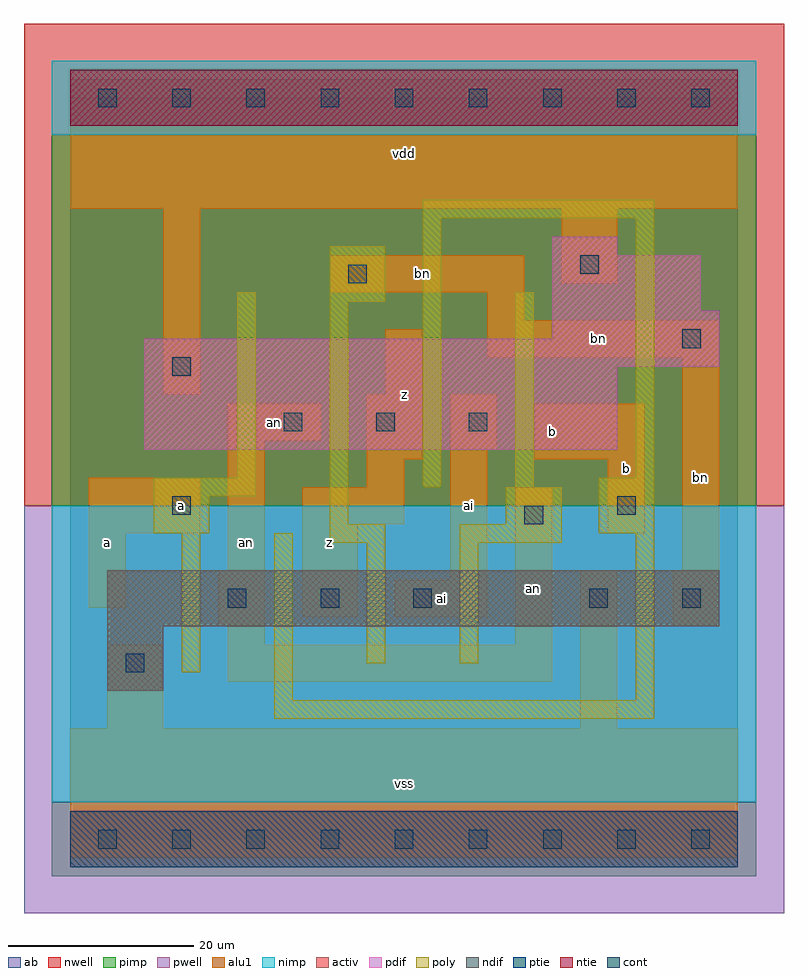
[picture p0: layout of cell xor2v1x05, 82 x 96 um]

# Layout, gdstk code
import gdstk
lib = gdstk.Library(unit=1e-6, precision=1e-09)
def R(c, l, rs):  # rectangles x0, y0, x1, y1
    for r in rs: c.add(gdstk.rectangle(r[:2], r[2:], *l))
def A(c, l, x, y, w, h, nx, ny, dx, dy):  # array of equal rectangles
    R(c, l, [(x+i*dx, y+j*dy, x+i*dx+w, y+j*dy+h) for i in range(nx) for j in range(ny)])
ndif = (3, 0)
pdif = (4, 0)
ntie = (5, 0)
ptie = (6, 0)
cont = (25, 0)
pwell = (41, 0)
nwell = (42, 0)
activ = (43, 0)
pimp = (44, 0)
nimp = (45, 0)
poly = (46, 0)
alu1 = (49, 0)
ab = (63, 0)

xor2v1x05 = lib.new_cell('xor2v1x05')
R(xor2v1x05, ndif, [(4,16,10,23), (4,23,70,29)])
R(xor2v1x05, pdif, [(8,42,59,51), (8,51,70,54), (52,54,70,57), (52,57,68,63), (52,63,59,65)])
R(xor2v1x05, ntie, [(0,77,72,83)])
R(xor2v1x05, ptie, [(0,-3,72,3)])
A(xor2v1x05, cont, 3, -1, 2, 2, 9, 2, 8, 80)
A(xor2v1x05, cont, 17, 25, 2, 2, 3, 1, 10, 0)
A(xor2v1x05, cont, 23, 44, 2, 2, 3, 1, 10, 0)
R(xor2v1x05, cont, [(6,18,8,20), (56,25,58,27), (66,25,68,27), (49,34,51,36), (11,35,13,37), (59,35,61,37), (11,50,13,52), (66,53,68,55), (30,60,32,62), (55,61,57,63)])
R(xor2v1x05, pwell, [(-5,-8,77,36)])
R(xor2v1x05, nwell, [(-5,36,77,88)])
R(xor2v1x05, activ, [(0,-3,72,3), (4,16,10,23), (4,23,70,29), (8,42,59,51), (8,51,70,54), (52,54,70,57), (52,57,68,63), (52,63,59,65), (0,77,72,83)])
R(xor2v1x05, pimp, [(-2,-4,74,4), (-2,36,74,76)])
R(xor2v1x05, nimp, [(-2,4,74,36), (-2,76,74,84)])
R(xor2v1x05, poly, [(22,13,63,15), (22,15,24,33), (61,15,63,33), (12,18,14,33), (32,19,34,32), (42,19,44,32), (28,32,34,34), (42,32,53,34), (9,33,15,37), (57,33,63,39), (28,34,30,58), (47,34,53,38), (9,37,20,39), (38,38,40,67), (48,38,50,59), (18,39,20,59), (61,39,63,67), (28,58,34,64), (38,67,63,69)])
R(xor2v1x05, alu1, [(0,-2,72,12), (4,12,10,21), (55,12,59,29), (17,17,52,21), (17,21,21,23), (48,21,52,38), (16,23,21,29), (65,23,70,29), (25,24,31,34), (35,24,45,28), (2,25,6,33), (41,28,45,42), (17,29,21,43), (66,29,70,52), (2,33,14,39), (58,33,62,41), (25,34,36,38), (32,38,36,41), (32,41,38,48), (50,41,62,47), (41,42,46,48), (17,43,27,47), (10,48,14,68), (34,48,38,55), (45,52,70,56), (45,56,49,59), (28,59,49,63), (53,60,59,68), (0,68,72,82)])
R(xor2v1x05, ab, [(0,0,72,80)])
xor2v1x05.add(gdstk.Label('an', (19,32), layer=49, texttype=0))
xor2v1x05.add(gdstk.Label('an', (22,45), layer=49, texttype=0))
xor2v1x05.add(gdstk.Label('an', (50,27), layer=49, texttype=0))
xor2v1x05.add(gdstk.Label('ai', (40,26), layer=49, texttype=0))
xor2v1x05.add(gdstk.Label('ai', (43,36), layer=49, texttype=0))
xor2v1x05.add(gdstk.Label('bn', (38,61), layer=49, texttype=0))
xor2v1x05.add(gdstk.Label('bn', (68,39), layer=49, texttype=0))
xor2v1x05.add(gdstk.Label('bn', (57,54), layer=49, texttype=0))
xor2v1x05.add(gdstk.Label('a', (4,32), layer=49, texttype=0))
xor2v1x05.add(gdstk.Label('a', (12,36), layer=49, texttype=0))
xor2v1x05.add(gdstk.Label('z', (28,32), layer=49, texttype=0))
xor2v1x05.add(gdstk.Label('vss', (36,6), layer=49, texttype=0))
xor2v1x05.add(gdstk.Label('b', (52,44), layer=49, texttype=0))
xor2v1x05.add(gdstk.Label('z', (36,48), layer=49, texttype=0))
xor2v1x05.add(gdstk.Label('vdd', (36,74), layer=49, texttype=0))
xor2v1x05.add(gdstk.Label('b', (60,40), layer=49, texttype=0))

lib.write_gds('xor2v1x05.gds')
